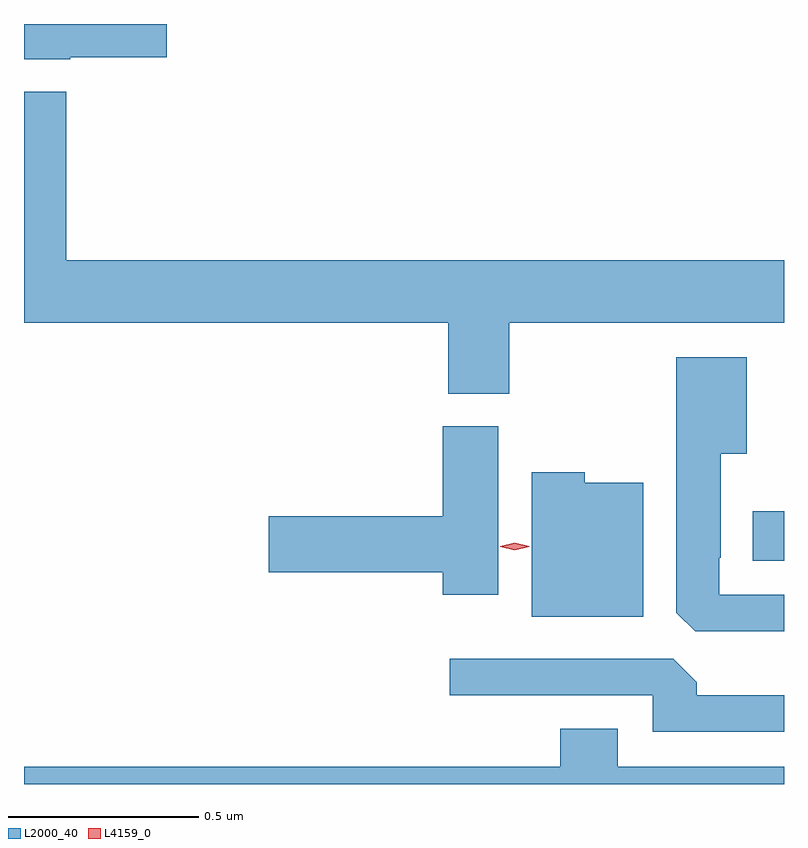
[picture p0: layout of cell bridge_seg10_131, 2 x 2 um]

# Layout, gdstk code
import gdstk
lib = gdstk.Library(unit=1e-6, precision=1e-09)
def R(c, l, rs):  # rectangles x0, y0, x1, y1
    for r in rs: c.add(gdstk.rectangle(r[:2], r[2:], *l))
def P(c, l, *ps):  # polygons
    for p in ps: c.add(gdstk.Polygon(p, *l))
L2000_40 = (2000, 40)
L4159_0 = (4159, 0)

bridge_seg10_131 = lib.new_cell('bridge_seg10_131')
R(bridge_seg10_131, L2000_40, [(363.968,1299.689,364.05,1299.82)])
P(bridge_seg10_131, L2000_40, [(362.172,1301.015),(362.425,1301.015),(362.425,1301.102),(362.05,1301.102),(362.05,1301.009),(362.172,1301.009)],
  [(363.327,1300.316),(364.05,1300.316),(364.05,1300.48),(362.161,1300.48),(362.161,1300.924),(362.05,1300.924),(362.05,1300.316),(363.167,1300.316),(363.167,1300.129),(363.327,1300.129)],
  [(364.05,1299.6),(363.879,1299.6),(363.879,1299.697),(363.883,1299.697),(363.883,1299.971),(363.952,1299.971),(363.952,1300.225),(363.767,1300.225),(363.767,1299.553),(363.816,1299.504),(364.05,1299.504)],
  [(363.298,1300.044),(363.152,1300.044),(363.152,1299.806),(362.694,1299.806),(362.694,1299.659),(363.152,1299.659),(363.152,1299.6),(363.298,1299.6)],
  [(363.679,1299.895),(363.525,1299.895),(363.525,1299.922),(363.386,1299.922),(363.386,1299.542),(363.679,1299.542)],
  [(364.05,1299.336),(363.821,1299.336),(363.821,1299.37),(363.759,1299.432),(363.171,1299.432),(363.171,1299.336),(363.705,1299.336),(363.705,1299.24),(364.05,1299.24)],
  [(364.05,1299.148),(363.613,1299.148),(363.613,1299.247),(363.461,1299.247),(363.461,1299.148),(362.05,1299.148),(362.05,1299.102),(364.05,1299.102)])
P(bridge_seg10_131, L4159_0, [(363.341,1299.717),(363.303,1299.727),(363.303,1299.727),(363.303,1299.728),(363.341,1299.737),(363.379,1299.728),(363.379,1299.727),(363.379,1299.727)])

lib.write_gds('bridge_seg10_131.gds')
